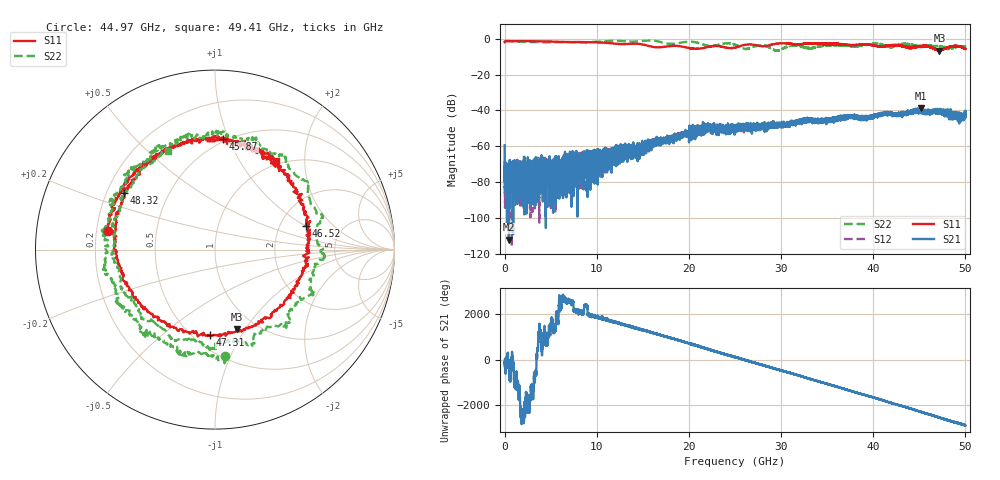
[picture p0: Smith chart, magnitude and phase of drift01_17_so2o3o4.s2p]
!Created with skrf (http://scikit-rf.org).
# Hz S RI R 50.0
!freq ReS11 ImS11 ReS21 ImS21 ReS12 ImS12 ReS22 ImS22
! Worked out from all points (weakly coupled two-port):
!   10001 points, 300 kHz to 50 GHz, reference 50 ohm
!   highest |S21| = -38.77 dB at 45.17 GHz (marker M1); lowest = -111.8 dB at 465.3 MHz (marker M2)
!   lowest |S11| = -6.8 dB at 47.18 GHz (marker M3), VSWR 2.69, Z = 40.7 - j45.6 ohm
!   |S11| at or under -10 dB: nowhere
!   |S22| runs from -6.9 to -1.0 dB; largest |S21 - S12| = 0.0039
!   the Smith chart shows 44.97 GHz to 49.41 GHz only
!   S11 on the Smith chart (normalised r, x): 44.97 GHz: 0.25, +0.08; 45.87 GHz: 0.48, +0.95; 46.52 GHz: 2.77, +1.02; 47.31 GHz: 0.60, -0.74; 48.32 GHz: 0.27, +0.27; 49.41 GHz: 0.94, +1.45
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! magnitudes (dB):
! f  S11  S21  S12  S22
! 300 kHz  -2.0  -59.4  -68.2  -1.3
! 255.3 MHz  -1.4  -73.9  -72.8  -1.4
! 465.3 MHz  -1.4  -111.8  -75.7  -1.4
! 5.165 GHz  -1.7  -72.6  -73.3  -2.1
! 8.335 GHz  -1.9  -64.4  -77.6  -2.1
! 16.67 GHz  -4.9  -56.8  -55.9  -1.6
! 22.1 GHz  -4.7  -50.2  -51.7  -4.1
! 25 GHz  -5.0  -48.4  -50.6  -3.4
! 28.09 GHz  -4.3  -48.8  -49.2  -3.8
! 29.52 GHz  -2.9  -47.3  -48.3  -6.7
! 31.3 GHz  -3.1  -46.0  -46.6  -4.0
! 33.34 GHz  -2.6  -45.9  -45.8  -5.6
! 41.67 GHz  -3.9  -41.8  -41.8  -4.6
! 44.97 GHz  -4.3  -40.6  -39.7  -4.5
! 45.17 GHz  -4.2  -38.8  -40.9  -4.4
! 45.87 GHz  -4.2  -40.6  -41.4  -4.3
! 46.52 GHz  -5.6  -40.6  -41.4  -4.0
! 47.18 GHz  -6.8  -39.2  -41.0  -4.4
! 47.31 GHz  -6.4  -40.6  -40.3  -4.1
! 48.32 GHz  -4.5  -44.4  -41.3  -5.3
! 49.41 GHz  -4.5  -44.8  -43.1  -4.3
! 50 GHz  -5.7  -42.7  -41.7  -4.2
